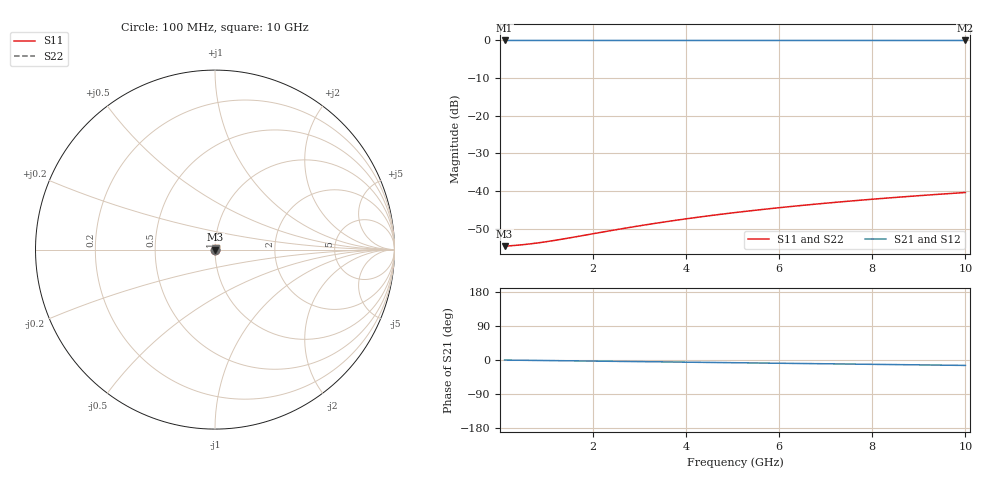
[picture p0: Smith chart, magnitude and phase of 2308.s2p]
# Hz S RI R 50.00
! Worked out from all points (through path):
!   100 points, 100 MHz to 10 GHz, reference 50 ohm
!   highest |S21| = -0.02 dB at 100 MHz (marker M1); lowest = 0.0 dB at 10 GHz (marker M2)
!   group delay of S21, straight-line fit = 3.97 ps
!   lowest |S11| = -54.6 dB at 100 MHz (marker M3), VSWR 1.00, Z = 50.2 + j0.00918 ohm
!   |S11| at or under -10 dB: start of sweep to end of sweep
!   |S22| runs from -54.6 to -40.4 dB; largest |S21 - S12| = 0
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1e8  0.00186 9.15e-05  0.9981 -0.00248  0.9981 -0.00248  0.00186 9.15e-05
3e8  0.00188 0.000274  0.9981 -0.00744  0.9981 -0.00744  0.00188 0.000274
5e8  0.00189 0.000457  0.998 -0.0124  0.998 -0.0124  0.00189 0.000457
8e8  0.00191 0.00073  0.9979 -0.0198  0.9979 -0.0198  0.00191 0.00073
1e9  0.00193 0.000912  0.9978 -0.0248  0.9978 -0.0248  0.00193 0.000912
1.2e9  0.00194 0.00109  0.9976 -0.0298  0.9976 -0.0298  0.00194 0.00109
1.8e9  0.002 0.00164  0.997 -0.0446  0.997 -0.0446  0.002 0.00164
2.3e9  0.00205 0.00209  0.9964 -0.057  0.9964 -0.057  0.00205 0.00209
2.7e9  0.00211 0.00245  0.9957 -0.0669  0.9957 -0.0669  0.00211 0.00245
3.1e9  0.00216 0.00281  0.995 -0.0768  0.995 -0.0768  0.00216 0.00281
3.4e9  0.00221 0.00307  0.9944 -0.0843  0.9944 -0.0843  0.00221 0.00307
3.8e9  0.00228 0.00343  0.9935 -0.0942  0.9935 -0.0942  0.00228 0.00343
4.2e9  0.00236 0.00378  0.9925 -0.104  0.9925 -0.104  0.00236 0.00378
4.6e9  0.00244 0.00413  0.9914 -0.1139  0.9914 -0.1139  0.00244 0.00413
5.1e9  0.00256 0.00457  0.9899 -0.1263  0.9899 -0.1263  0.00256 0.00457
5.5e9  0.00266 0.00491  0.9886 -0.1361  0.9886 -0.1361  0.00266 0.00491
5.9e9  0.00276 0.00525  0.9871 -0.146  0.9871 -0.146  0.00276 0.00525
6.7e9  0.003 0.00593  0.984 -0.1656  0.984 -0.1656  0.003 0.00593
7.5e9  0.00326 0.0066  0.9805 -0.1852  0.9805 -0.1852  0.00326 0.0066
8.4e9  0.00358 0.00733  0.976 -0.2072  0.976 -0.2072  0.00358 0.00733
9.2e9  0.0039 0.00797  0.9717 -0.2267  0.9717 -0.2267  0.0039 0.00797
1e10  0.00424 0.0086  0.9669 -0.2461  0.9669 -0.2461  0.00424 0.0086
